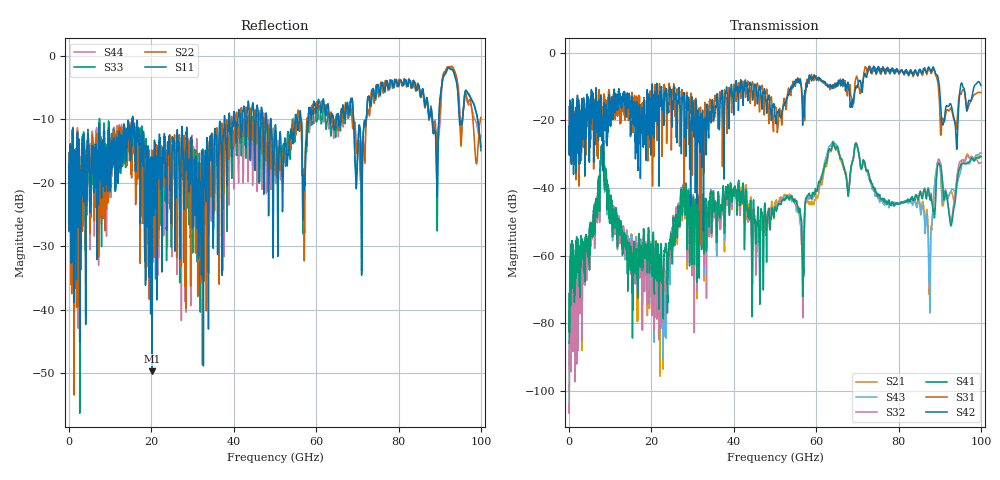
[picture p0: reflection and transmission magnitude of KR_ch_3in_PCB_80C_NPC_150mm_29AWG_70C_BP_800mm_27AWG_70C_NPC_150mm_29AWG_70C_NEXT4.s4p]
# GHz S RI R 45
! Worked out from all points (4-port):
!   4000 points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, 25 MHz to 100 GHz, reference 45 ohm
!   strongest paths, dB at 25 MHz, 25.02 GHz, 50.02 GHz, 75.03 GHz, 100 GHz:
!     S42: -21.8, -20.6, -18.8, -4.2, -9.7
!     S31: -21.7, -12.4, -16.0, -5.0, -11.8
!     S41: -85.8, -60.1, -45.6, -41.8, -30.7
!     S32: -104.0, -53.4, -45.1, -41.8, -32.5
!     S43: -100.6, -56.0, -44.7, -42.8, -29.6
!     S21: -101.5, -55.9, -44.3, -42.9, -30.6
!   lowest |S11| = -49.7 dB at 20.2 GHz (marker M1), VSWR 1.01, Z = 45 - j0.292 ohm
!   |S11| at or under -10 dB: start of sweep to 15.35 GHz; 15.48 GHz to 37.7 GHz (22.22 GHz wide, 83.6 % of centre); 49.02 GHz to 54.9 GHz (5.882 GHz wide, 11.3 % of centre) (the widest 3 of 26)
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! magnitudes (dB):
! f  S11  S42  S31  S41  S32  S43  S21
! 25 MHz  -17.2  -21.8  -21.7  -85.8  -104.0  -100.6  -101.5
! 8.1 GHz  -13.5  -18.8  -19.0  -29.2  -29.9  -30.0  -29.5
! 20.2 GHz  -49.7  -9.2  -14.2  -66.1  -77.7  -68.0  -70.2
! 56.62 GHz  -15.2  -15.8  -14.0  -59.3  -56.6  -59.1  -57.9
! 64.25 GHz  -10.4  -9.5  -10.1  -26.8  -27.6  -26.3  -27.6
! 87.58 GHz  -9.6  -4.8  -5.0  -42.8  -42.4  -74.7  -63.1
! 100 GHz  -14.3  -9.7  -11.8  -30.7  -32.5  -29.6  -30.6
